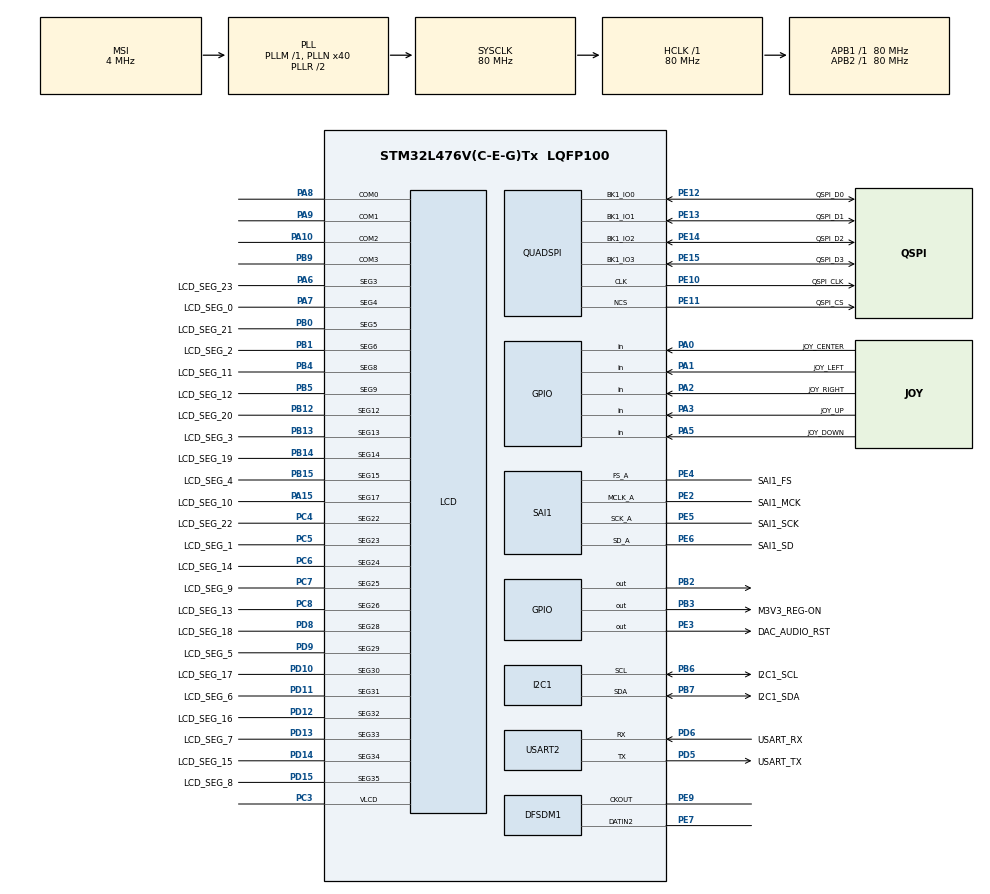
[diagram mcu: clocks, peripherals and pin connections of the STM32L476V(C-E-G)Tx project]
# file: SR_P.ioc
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DFSDM1.Divider=4
DFSDM1.DmaMode_reg_FIL0=ENABLE
DFSDM1.FastMode_reg_FIL0=ENABLE
DFSDM1.Filter_injChannel2_FIL0=DFSDM_CHANNEL_2
DFSDM1.Filter_regChannel_FIL0=DFSDM_CHANNEL_2
DFSDM1.Fosr_FIL0=64
DFSDM1.Oversampling_CH2=10
DFSDM1.RightBitShift_CH2=0x02
DFSDM1.ScanMode_inj_FIL0=ENABLE
DFSDM1.Selection=DFSDM_CHANNEL_OUTPUT_CLOCK_AUDIO
DFSDM1.SincOrder_FIL0=DFSDM_FILTER_SINC3_ORDER
Dma.DFSDM1_FLT0.0.Direction=DMA_PERIPH_TO_MEMORY
Dma.DFSDM1_FLT0.0.Instance=DMA1_Channel4
Dma.DFSDM1_FLT0.0.MemDataAlignment=DMA_MDATAALIGN_WORD
Dma.DFSDM1_FLT0.0.MemInc=DMA_MINC_ENABLE
Dma.DFSDM1_FLT0.0.Mode=DMA_CIRCULAR
Dma.DFSDM1_FLT0.0.PeriphDataAlignment=DMA_PDATAALIGN_WORD
Dma.DFSDM1_FLT0.0.PeriphInc=DMA_PINC_DISABLE
Dma.DFSDM1_FLT0.0.Priority=DMA_PRIORITY_HIGH
Dma.Request0=DFSDM1_FLT0
Dma.Request1=SAI1_A
Dma.SAI1_A.1.Direction=DMA_MEMORY_TO_PERIPH
Dma.SAI1_A.1.Instance=DMA2_Channel1
Dma.SAI1_A.1.MemDataAlignment=DMA_MDATAALIGN_WORD
Dma.SAI1_A.1.MemInc=DMA_MINC_ENABLE
Dma.SAI1_A.1.Mode=DMA_CIRCULAR
Dma.SAI1_A.1.PeriphDataAlignment=DMA_PDATAALIGN_WORD
Dma.SAI1_A.1.PeriphInc=DMA_PINC_DISABLE
Dma.SAI1_A.1.Priority=DMA_PRIORITY_HIGH
I2C1.Timing=0x10909CEC
Mcu.Family=STM32L4
Mcu.Name=STM32L476V(C-E-G)Tx
Mcu.Package=LQFP100
NVIC.DMA1_Channel4_IRQn=true\:0\:0\:false\:false\:true\:false\:true
NVIC.DMA2_Channel1_IRQn=true\:0\:0\:false\:false\:true\:false\:true
NVIC.PriorityGroup=NVIC_PRIORITYGROUP_4
NVIC.USART2_IRQn=true\:0\:0\:false\:false\:true\:true\:true
PA0.GPIO_Label=JOY_CENTER
PA0.GPIO_Mode=GPIO_MODE_INPUT
PA0.GPIO_PuPd=GPIO_PULLDOWN
PA0.Signal=GPIO_Input
PA1.GPIO_Label=JOY_LEFT
PA1.GPIO_Mode=GPIO_MODE_INPUT
PA1.GPIO_PuPd=GPIO_PULLDOWN
PA1.Signal=GPIO_Input
PA10.Mode=1/4 Duty Cycle
PA10.Signal=LCD_COM2
PA13\ (JTMS-SWDIO).GPIO_Label=SWDIO
PA13\ (JTMS-SWDIO).Mode=Serial_Wire
PA13\ (JTMS-SWDIO).Signal=SYS_JTMS-SWDIO
PA14\ (JTCK-SWCLK).GPIO_Label=SWCLK
PA14\ (JTCK-SWCLK).Mode=Serial_Wire
PA14\ (JTCK-SWCLK).Signal=SYS_JTCK-SWCLK
PA15\ (JTDI).GPIO_Label=LCD_SEG_10
PA15\ (JTDI).Mode=SEG17
PA15\ (JTDI).Signal=LCD_SEG17
PA2.GPIO_Label=JOY_RIGHT
PA2.GPIO_Mode=GPIO_MODE_INPUT
PA2.GPIO_PuPd=GPIO_PULLDOWN
PA2.Signal=GPIO_Input
PA3.GPIO_Label=JOY_UP
PA3.GPIO_Mode=GPIO_MODE_INPUT
PA3.GPIO_PuPd=GPIO_PULLDOWN
PA3.Signal=GPIO_Input
PA5.GPIO_Label=JOY_DOWN
PA5.GPIO_Mode=GPIO_MODE_INPUT
PA5.GPIO_PuPd=GPIO_PULLDOWN
PA5.Signal=GPIO_Input
PA6.GPIO_Label=LCD_SEG_23
PA6.Mode=SEG3
PA6.Signal=LCD_SEG3
PA7.GPIO_Label=LCD_SEG_0
PA7.Mode=SEG4
PA7.Signal=LCD_SEG4
PA8.Mode=1/4 Duty Cycle
PA8.Signal=LCD_COM0
PA9.Mode=1/4 Duty Cycle
PA9.Signal=LCD_COM1
PB0.GPIO_Label=LCD_SEG_21
PB0.Mode=SEG5
PB0.Signal=LCD_SEG5
PB1.GPIO_Label=LCD_SEG_2
PB1.Mode=SEG6
PB1.Signal=LCD_SEG6
PB12.GPIO_Label=LCD_SEG_20
PB12.Mode=SEG12
PB12.Signal=LCD_SEG12
PB13.GPIO_Label=LCD_SEG_3
PB13.Mode=SEG13
PB13.Signal=LCD_SEG13
PB14.GPIO_Label=LCD_SEG_19
PB14.Mode=SEG14
PB14.Signal=LCD_SEG14
PB15.GPIO_Label=LCD_SEG_4
PB15.Mode=SEG15
PB15.Signal=LCD_SEG15
PB2.Signal=GPIO_Output
PB3\ (JTDO-TRACESWO).GPIO_Label=M3V3_REG-ON
PB3\ (JTDO-TRACESWO).GPIO_ModeDefaultOutputPP=GPIO_MODE_OUTPUT_PP
PB3\ (JTDO-TRACESWO).GPIO_PuPd=GPIO_NOPULL
PB3\ (JTDO-TRACESWO).GPIO_Speed=GPIO_SPEED_FREQ_LOW
PB3\ (JTDO-TRACESWO).Signal=GPIO_Output
PB4\ (NJTRST).GPIO_Label=LCD_SEG_11
PB4\ (NJTRST).Mode=SEG8
PB4\ (NJTRST).Signal=LCD_SEG8
PB5.GPIO_Label=LCD_SEG_12
PB5.Mode=SEG9
PB5.Signal=LCD_SEG9
PB6.GPIO_FM6=__NULL
PB6.GPIO_Label=I2C1_SCL
PB6.GPIO_Mode=GPIO_MODE_AF_OD
PB6.GPIO_PuPdOD=GPIO_PULLUP
PB6.GPIO_Speed=GPIO_SPEED_FREQ_VERY_HIGH
PB6.Mode=I2C
PB6.Signal=I2C1_SCL
PB7.GPIO_FM7=__NULL
PB7.GPIO_Label=I2C1_SDA
PB7.GPIO_Mode=GPIO_MODE_AF_OD
PB7.GPIO_PuPdOD=GPIO_PULLUP
PB7.GPIO_Speed=GPIO_SPEED_FREQ_VERY_HIGH
PB7.Mode=I2C
PB7.Signal=I2C1_SDA
PB9.Mode=1/4 Duty Cycle
PB9.Signal=LCD_COM3
PC14-OSC32_IN\ (PC14).Signal=RCC_OSC32_IN
PC15-OSC32_OUT\ (PC15).Signal=RCC_OSC32_OUT
PC3.Mode=1/4 Duty Cycle
PC3.Signal=LCD_VLCD
PC4.GPIO_Label=LCD_SEG_22
PC4.Mode=SEG22
PC4.Signal=LCD_SEG22
PC5.GPIO_Label=LCD_SEG_1
PC5.Mode=SEG23
PC5.Signal=LCD_SEG23
PC6.GPIO_Label=LCD_SEG_14
PC6.Mode=SEG24
PC6.Signal=LCD_SEG24
PC7.GPIO_Label=LCD_SEG_9
PC7.Mode=SEG25
PC7.Signal=LCD_SEG25
PC8.GPIO_Label=LCD_SEG_13
PC8.Mode=SEG26
PC8.Signal=LCD_SEG26
PD10.GPIO_Label=LCD_SEG_17
PD10.Mode=SEG30
PD10.Signal=LCD_SEG30
PD11.GPIO_Label=LCD_SEG_6
PD11.Mode=SEG31
PD11.Signal=LCD_SEG31
PD12.GPIO_Label=LCD_SEG_16
PD12.Mode=SEG32
PD12.Signal=LCD_SEG32
PD13.GPIO_Label=LCD_SEG_7
PD13.Mode=SEG33
PD13.Signal=LCD_SEG33
PD14.GPIO_Label=LCD_SEG_15
PD14.Mode=SEG34
PD14.Signal=LCD_SEG34
PD15.GPIO_Label=LCD_SEG_8
PD15.Mode=SEG35
PD15.Signal=LCD_SEG35
PD5.GPIO_Label=USART_TX
PD5.GPIO_Mode=GPIO_MODE_AF_PP
PD5.GPIO_PuPd=GPIO_PULLUP
PD5.GPIO_Speed=GPIO_SPEED_FREQ_VERY_HIGH
PD5.Mode=Asynchronous
PD5.Signal=USART2_TX
PD6.GPIO_Label=USART_RX
PD6.GPIO_Mode=GPIO_MODE_AF_PP
PD6.GPIO_PuPd=GPIO_PULLUP
PD6.GPIO_Speed=GPIO_SPEED_FREQ_VERY_HIGH
PD6.Mode=Asynchronous
PD6.Signal=USART2_RX
PD8.GPIO_Label=LCD_SEG_18
PD8.Mode=SEG28
PD8.Signal=LCD_SEG28
PD9.GPIO_Label=LCD_SEG_5
PD9.Mode=SEG29
PD9.Signal=LCD_SEG29
PE10.GPIO_Label=QSPI_CLK
PE10.GPIO_Mode=GPIO_MODE_AF_PP
PE10.GPIO_PuPd=GPIO_NOPULL
PE10.GPIO_Speed=GPIO_SPEED_FREQ_VERY_HIGH
PE10.Mode=Single Bank
PE10.Signal=QUADSPI_CLK
PE11.GPIO_Label=QSPI_CS
PE11.GPIO_Mode=GPIO_MODE_AF_PP
PE11.GPIO_PuPd=GPIO_NOPULL
PE11.GPIO_Speed=GPIO_SPEED_FREQ_VERY_HIGH
PE11.Mode=Single Bank
PE11.Signal=QUADSPI_NCS
PE12.GPIO_Label=QSPI_D0
PE12.GPIO_Mode=GPIO_MODE_AF_PP
PE12.GPIO_PuPd=GPIO_NOPULL
PE12.GPIO_Speed=GPIO_SPEED_FREQ_VERY_HIGH
PE12.Mode=Single Bank
PE12.Signal=QUADSPI_BK1_IO0
PE13.GPIO_Label=QSPI_D1
PE13.GPIO_Mode=GPIO_MODE_AF_PP
PE13.GPIO_PuPd=GPIO_NOPULL
PE13.GPIO_Speed=GPIO_SPEED_FREQ_VERY_HIGH
PE13.Mode=Single Bank
PE13.Signal=QUADSPI_BK1_IO1
PE14.GPIO_Label=QSPI_D2
PE14.GPIO_Mode=GPIO_MODE_AF_PP
PE14.GPIO_PuPd=GPIO_NOPULL
PE14.GPIO_Speed=GPIO_SPEED_FREQ_VERY_HIGH
PE14.Mode=Single Bank
PE14.Signal=QUADSPI_BK1_IO2
PE15.GPIO_Label=QSPI_D3
PE15.GPIO_Mode=GPIO_MODE_AF_PP
PE15.GPIO_PuPd=GPIO_NOPULL
PE15.GPIO_Speed=GPIO_SPEED_FREQ_VERY_HIGH
PE15.Mode=Single Bank
PE15.Signal=QUADSPI_BK1_IO3
PE2.GPIO_Label=SAI1_MCK
PE2.GPIO_Mode=GPIO_MODE_AF_PP
PE2.GPIO_PuPd=GPIO_NOPULL
PE2.GPIO_Speed=GPIO_SPEED_FREQ_VERY_HIGH
PE2.Mode=SAI_A_MasterWithClock
PE2.Signal=SAI1_MCLK_A
PE3.GPIO_Label=DAC_AUDIO_RST
PE3.GPIO_ModeDefaultOutputPP=GPIO_MODE_OUTPUT_PP
PE3.GPIO_PuPd=GPIO_NOPULL
PE3.GPIO_Speed=GPIO_SPEED_FREQ_HIGH
PE3.Signal=GPIO_Output
PE4.GPIO_Label=SAI1_FS
PE4.GPIO_Mode=GPIO_MODE_AF_PP
PE4.GPIO_PuPd=GPIO_NOPULL
PE4.GPIO_Speed=GPIO_SPEED_FREQ_VERY_HIGH
PE4.Mode=SAI_A_MasterWithClock
PE4.Signal=SAI1_FS_A
PE5.GPIO_Label=SAI1_SCK
PE5.GPIO_Mode=GPIO_MODE_AF_PP
PE5.GPIO_PuPd=GPIO_NOPULL
PE5.GPIO_Speed=GPIO_SPEED_FREQ_VERY_HIGH
PE5.Mode=SAI_A_MasterWithClock
PE5.Signal=SAI1_SCK_A
PE6.GPIO_Label=SAI1_SD
PE6.GPIO_Mode=GPIO_MODE_AF_PP
PE6.GPIO_PuPd=GPIO_NOPULL
PE6.GPIO_Speed=GPIO_SPEED_FREQ_VERY_HIGH
PE6.Mode=SAI_A_MasterWithClock
PE6.Signal=SAI1_SD_A
PE7.Signal=S_DATAIN2DFSDM1
PE9.Signal=S_CKOUTDFSDM1
PH0-OSC_IN\ (PH0).Signal=RCC_OSC_IN
PH1-OSC_OUT\ (PH1).Signal=RCC_OSC_OUT
ProjectManager.HeapSize=0x200
ProjectManager.StackSize=0x400
ProjectManager.TargetToolchain=STM32CubeIDE
QUADSPI.ClockPrescaler-Single\ Bank=0
QUADSPI.FlashSize-Single\ Bank=23
RCC.ADCFreq_Value=96000000
RCC.AHBFreq_Value=80000000
RCC.APB1Freq_Value=80000000
RCC.APB1TimFreq_Value=80000000
RCC.APB2Freq_Value=80000000
RCC.APB2TimFreq_Value=80000000
RCC.CortexFreq_Value=80000000
RCC.HCLKFreq_Value=80000000
RCC.HSE_VALUE=8000000
RCC.HSI_VALUE=16000000
RCC.LSE_VALUE=32768
RCC.MSI_VALUE=4000000
RCC.PLLN=40
RCC.PLLSAI1N=48
RCC.PLLSAI1P=RCC_PLLP_DIV17
RCC.PREFETCH_ENABLE=1
RCC.SYSCLKFreq_VALUE=80000000
RCC.SYSCLKSource=RCC_SYSCLKSOURCE_PLLCLK
RCC.USBFreq_Value=96000000
RCC.VCOOutputFreq_Value=160000000
SAI1.ActiveFrameLength-SAI_A_MasterWithClock=16
SAI1.AudioFrequency-SAI_A_MasterWithClock=SAI_AUDIO_FREQUENCY_44K
SAI1.DataSize-SAI_A_MasterWithClock=SAI_DATASIZE_16
SAI1.ErrorAudioFreq-SAI_A_MasterWithClock=0.26 %
SAI1.FIFOThreshold-SAI_A_MasterWithClock=SAI_FIFOTHRESHOLD_1QF
SAI1.FSDefinition-SAI_A_MasterWithClock=SAI_FS_CHANNEL_IDENTIFICATION
SAI1.FSOffset-SAI_A_MasterWithClock=SAI_FS_BEFOREFIRSTBIT
SAI1.FrameLength-SAI_A_MasterWithClock=32
SAI1.Instance-SAI_A_MasterWithClock=SAI$Index_Block_A
SAI1.MClockEnable-SAI_A_MasterWithClock=SAI_MASTERCLOCK_ENABLE
SAI1.OutputDrive-SAI_A_MasterWithClock=SAI_OUTPUTDRIVE_ENABLE
SAI1.RealAudioFreq-SAI_A_MasterWithClock=44.117 KHz
SAI1.SlotActive-SAI_A_MasterWithClock=0x00000003
SAI1.SlotNumber-SAI_A_MasterWithClock=2
SAI1.VirtualMode-SAI_A_MasterWithClock=VM_MASTER
SAI1.VirtualSlotActive-SAI_A_MasterWithClock=SAI_SLOT_USERSETTING
SAI1.VirtualSlotActive0-SAI_A_MasterWithClock=true
SAI1.VirtualSlotActive1-SAI_A_MasterWithClock=true
SH.S_CKOUTDFSDM1.0=DFSDM1_CKOUT,CKOUT
SH.S_CKOUTDFSDM1.1=DFSDM1_CKOUT,PDM_SPI_input_from_ch2_and_internal_clock
SH.S_DATAIN2DFSDM1.0=DFSDM1_DATIN2,PDM_SPI_input_from_ch2_and_internal_clock
USART2.VirtualMode-Asynchronous=VM_ASYNC
VP_LCD_LCD_mux.Mode=Multiplex
board=STM32L476G-DISCO

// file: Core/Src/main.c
/* USER CODE BEGIN Header */
/**
  ******************************************************************************
  * @file           : main.c
  * @brief          : Main program body
  ******************************************************************************
  * @attention
  *
  * <h2><center>&copy; Copyright (c) 2023 STMicroelectronics.
  * All rights reserved.</center></h2>
  *
  * This software component is licensed by ST under Ultimate Liberty license
  * SLA0044, the "License"; You may not use this file except in compliance with
  * the License. You may obtain a copy of the License at:
  *                             www.st.com/SLA0044
  *
  ******************************************************************************
  */
/* USER CODE END Header */
#include "main.h"
#include "dfsdm.h"
#include "dma.h"
#include "i2c.h"
#include "lcd.h"
#include "quadspi.h"
#include "sai.h"
#include "usart.h"
#include "gpio.h"

/* USER CODE BEGIN Includes */
#include <stdio.h>
#include "flash.h"
#include "dac.h"
#include "joy.h"
#include "record.h"
/* USER CODE END Includes */

/* USER CODE BEGIN PD */
#define MAIN_MENU                   0
#define OPTION_RECORD 0
#define OPTION_PLAY   1
#define OPTION_DELETE 2
#define OPTION_AUTO   3

#define SUBMENU_RECORD_TRACK_SELECT 1

#define SUBMENU_PLAY_TRACK_SELECT   2

#define SUBMENU_DELETE_TRACK_SELECT 3

#define SUBMENU_AUTO_SWITCH         4

#define STATE_RECORGING             5
#define STATE_PLAYING               6
#define STATE_DELETING              7
#define STATE_SWITCHING             8

#define AUTO_DISABLED               0
#define AUTO_ENABLED                1
/* USER CODE END PD */

/* USER CODE BEGIN PV */
static uint8_t menu_structure[9][2] = {{0,3},{0,7},{0,7},{0,7},{0,1}};
static char* menu_text[9][8] = {{"RECORD", "PLAY", "DELETE", "AUTO"},
		                        {"TRACK1", "TRACK2", "TRACK3", "TRACK4", "TRACK5", "TRACK6", "TRACK7", "TRACK8"},
		                        {"TRACK1", "TRACK2", "TRACK3", "TRACK4", "TRACK5", "TRACK6", "TRACK7", "TRACK8"},
							    {"TRACK1", "TRACK2", "TRACK3", "TRACK4", "TRACK5", "TRACK6", "TRACK7", "TRACK8"},
							    {"OFF", "ON"}};
volatile uint8_t auto_status = 0;
/* USER CODE END PV */

void SystemClock_Config(void);

/* USER CODE BEGIN 0 */
// Adding support of printf function - sending data over USART
int _write(int file, char *ptr, int len) {
  HAL_UART_Transmit(&huart2, ptr, len, 50);
  return len;
}
void update_menu(uint8_t submenu, uint8_t option) {
	display_lcd(menu_text[submenu][option]);
}
void update_joystick(struct joy* joystick, uint8_t* submenu, uint8_t* option) {
	static uint32_t joystick_event_id = 0;
	joy_up(joystick);
	joy_down(joystick);
	joy_left(joystick);
	joy_right(joystick);
	joy_center(joystick);
	if(joystick->tab[joystick_event_id] == -1) return; // NO NEW EVENT
	switch(joystick->tab[joystick_event_id]) {
		case 0: // UP - previous option
			if(menu_structure[*submenu][0] < *option) // Check if can go up
				--(*option);
			break;
		case 2: // DOWN - next option
			if(menu_structure[*submenu][1] > *option) // Check if can go up
				++(*option);
			break;
		case 1: // RIGHT - enter option
		case 4: // CENTER
			if(*submenu == MAIN_MENU) {
				*submenu = *option + 1;
				*option  = 0;
			} else {
				*submenu = *submenu + 4; // Go from selecting to state
			}
			break;
		case 3: // LEFT - go to previous submenu
			if(*submenu == SUBMENU_RECORD_TRACK_SELECT || *submenu == SUBMENU_PLAY_TRACK_SELECT ||
			   *submenu == SUBMENU_DELETE_TRACK_SELECT || *submenu == SUBMENU_AUTO_SWITCH) {
				*option  = *submenu - 1;
				*submenu = MAIN_MENU;
			}
			break;
		default:
			printf("Unknown key id: %d", joystick->tab[joystick_event_id]);
			break;
	}
	++joystick_event_id;
}
void record_track(uint8_t track_id) {
	int32_t buffer[256];
	if(Flash_Track_Status_Set(track_id, TRACK_SAVED) != HAL_OK) return;
	display_lcd("FLASHC");
	Flash_Track_Record_Start(track_id);
	display_lcd("REC");
	printf("Cleared flash space\r\n");
	do {
		record(buffer, 256);
	} while(Flash_Track_Record_Buffer_Save((uint8_t *)buffer, 256 * 4) == 256 * 4);
	display_lcd("DONE");
	HAL_Delay(1000);
}
void play_track(uint8_t track_id) {
	uint8_t track_state;
	if(Flash_Track_Status_Get(track_id, &track_state) != HAL_OK) return;
	if(track_state == TRACK_EMPTY) {
		display_lcd("EMPTY");
		HAL_Delay(1000);
		return;
	}
	if(dac_play_track(track_id) != HAL_OK) {
		printf("Failed to play track %d", track_id);
		return;
	}
	display_lcd("DONE");
	HAL_Delay(1000);
}
void delete_track(uint8_t track_id) {
	if(Flash_Track_Status_Set(track_id, TRACK_EMPTY) != HAL_OK) return;
	HAL_Delay(1000);
}
void switch_auto(uint8_t state) {
	auto_status = state;
	HAL_Delay(1000);
}
uint8_t is_there_conversation() {
	int32_t buffer;
	record(&buffer, 1);
	return abs(buffer) > 1000;
}

/* USER CODE END 0 */

int main(void)
{

  /* MCU Configuration--------------------------------------------------------*/

  /* Reset of all peripherals, Initializes the Flash interface and the Systick. */
  HAL_Init();

  /* Configure the system clock */
  SystemClock_Config();

  /* Initialize all configured peripherals */
  MX_GPIO_Init();
  MX_DMA_Init();
  MX_I2C1_Init();
  MX_QUADSPI_Init();
  MX_SAI1_Init();
  MX_USART2_UART_Init();
  //MX_LCD_Init();
  MX_DFSDM1_Init();
  /* USER CODE BEGIN 2 */
  if(Flash_Init() != HAL_OK) {
	  printf("Flash init error\r\n");
	  while(1);
  }

  lcd_init();

  struct joy joystick;
  joy_init(&joystick);

  uint8_t submenu = 0;
  uint8_t option  = 0;
  uint8_t state = 0;
  uint8_t state_old = 255;

  /* USER CODE END 2 */

  /* Infinite loop */
  /* USER CODE BEGIN WHILE */
  while (1)
  {
	// Joystick
	update_joystick(&joystick, &submenu, &option);
	// States handlers
    if(submenu == STATE_RECORGING) {
    	display_lcd("REC");
    	record_track(option);
    	submenu = MAIN_MENU;
    	option = 0;
    }
    if(submenu == STATE_PLAYING) {
    	display_lcd("PLAYIN");
    	play_track(option);
    	submenu = MAIN_MENU;
    	option = 0;
    }
    if(submenu == STATE_DELETING) {
    	display_lcd("DEL");
    	delete_track(option);
    	submenu = MAIN_MENU;
    	option = 0;
    }
    if(submenu == STATE_SWITCHING) {
    	display_lcd("SWITCH");
    	switch_auto(state);
    	submenu = MAIN_MENU;
    	option = 0;
    }
    // Conversation detector
    if(auto_status != AUTO_DISABLED) {
    	if(is_there_conversation()) {
        	display_lcd("REC");
        	record_track(0);
        	submenu = MAIN_MENU;
        	option = 0;
    	}
    }
	// LCD Update
	state = (10 * submenu) + option;
	if(state != state_old) {
		update_menu(submenu, option);
		state_old = state;
	}
    /* USER CODE END WHILE */

  }
}

void SystemClock_Config(void)
{
  RCC_OscInitTypeDef RCC_OscInitStruct = {0};
  RCC_ClkInitTypeDef RCC_ClkInitStruct = {0};
  RCC_PeriphCLKInitTypeDef PeriphClkInit = {0};

  /** Initializes the RCC Oscillators according to the specified parameters
  * in the RCC_OscInitTypeDef structure.
  */
  RCC_OscInitStruct.OscillatorType = RCC_OSCILLATORTYPE_LSI|RCC_OSCILLATORTYPE_MSI;
  RCC_OscInitStruct.LSIState = RCC_LSI_ON;
  RCC_OscInitStruct.MSIState = RCC_MSI_ON;
  RCC_OscInitStruct.MSICalibrationValue = 0;
  RCC_OscInitStruct.MSIClockRange = RCC_MSIRANGE_6;
  RCC_OscInitStruct.PLL.PLLState = RCC_PLL_ON;
  RCC_OscInitStruct.PLL.PLLSource = RCC_PLLSOURCE_MSI;
  RCC_OscInitStruct.PLL.PLLM = 1;
  RCC_OscInitStruct.PLL.PLLN = 40;
  RCC_OscInitStruct.PLL.PLLP = RCC_PLLP_DIV7;
  RCC_OscInitStruct.PLL.PLLQ = RCC_PLLQ_DIV2;
  RCC_OscInitStruct.PLL.PLLR = RCC_PLLR_DIV2;
  if (HAL_RCC_OscConfig(&RCC_OscInitStruct) != HAL_OK)
  {
    Error_Handler();
  }
  /** Initializes the CPU, AHB and APB buses clocks
  */
  RCC_ClkInitStruct.ClockType = RCC_CLOCKTYPE_HCLK|RCC_CLOCKTYPE_SYSCLK
                              |RCC_CLOCKTYPE_PCLK1|RCC_CLOCKTYPE_PCLK2;
  RCC_ClkInitStruct.SYSCLKSource = RCC_SYSCLKSOURCE_PLLCLK;
  RCC_ClkInitStruct.AHBCLKDivider = RCC_SYSCLK_DIV1;
  RCC_ClkInitStruct.APB1CLKDivider = RCC_HCLK_DIV1;
  RCC_ClkInitStruct.APB2CLKDivider = RCC_HCLK_DIV1;

  if (HAL_RCC_ClockConfig(&RCC_ClkInitStruct, FLASH_LATENCY_4) != HAL_OK)
  {
    Error_Handler();
  }
  PeriphClkInit.PeriphClockSelection = RCC_PERIPHCLK_RTC|RCC_PERIPHCLK_USART2
                              |RCC_PERIPHCLK_SAI1|RCC_PERIPHCLK_I2C1
                              |RCC_PERIPHCLK_DFSDM1;
  PeriphClkInit.Usart2ClockSelection = RCC_USART2CLKSOURCE_PCLK1;
  PeriphClkInit.I2c1ClockSelection = RCC_I2C1CLKSOURCE_PCLK1;
  PeriphClkInit.Sai1ClockSelection = RCC_SAI1CLKSOURCE_PLLSAI1;
  PeriphClkInit.Dfsdm1ClockSelection = RCC_DFSDM1CLKSOURCE_PCLK;
  PeriphClkInit.RTCClockSelection = RCC_RTCCLKSOURCE_LSI;
  PeriphClkInit.PLLSAI1.PLLSAI1Source = RCC_PLLSOURCE_MSI;
  PeriphClkInit.PLLSAI1.PLLSAI1M = 1;
  PeriphClkInit.PLLSAI1.PLLSAI1N = 48;
  PeriphClkInit.PLLSAI1.PLLSAI1P = RCC_PLLP_DIV17;
  PeriphClkInit.PLLSAI1.PLLSAI1Q = RCC_PLLQ_DIV2;
  PeriphClkInit.PLLSAI1.PLLSAI1R = RCC_PLLR_DIV2;
  PeriphClkInit.PLLSAI1.PLLSAI1ClockOut = RCC_PLLSAI1_SAI1CLK;
  if (HAL_RCCEx_PeriphCLKConfig(&PeriphClkInit) != HAL_OK)
  {
    Error_Handler();
  }
  /** Configure the main internal regulator output voltage
  */
  if (HAL_PWREx_ControlVoltageScaling(PWR_REGULATOR_VOLTAGE_SCALE1) != HAL_OK)
  {
    Error_Handler();
  }
}

void Error_Handler(void)
{
}

/************************ (C) COPYRIGHT STMicroelectronics *****END OF FILE****/
